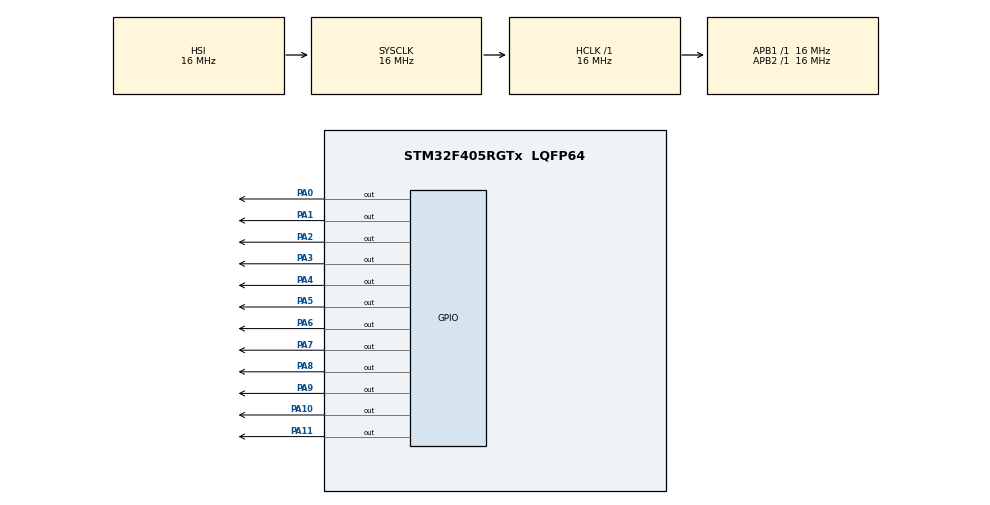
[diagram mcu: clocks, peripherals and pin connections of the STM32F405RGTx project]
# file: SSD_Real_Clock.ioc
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Mcu.Family=STM32F4
Mcu.Name=STM32F405RGTx
Mcu.Package=LQFP64
NVIC.PriorityGroup=NVIC_PRIORITYGROUP_4
NVIC.TIM6_DAC_IRQn=true\:0\:0\:false\:false\:true\:true\:true\:true
PA0-WKUP.Signal=GPIO_Output
PA1.Signal=GPIO_Output
PA10.Signal=GPIO_Output
PA11.Signal=GPIO_Output
PA13.Mode=Serial_Wire
PA13.Signal=SYS_JTMS-SWDIO
PA14.Mode=Serial_Wire
PA14.Signal=SYS_JTCK-SWCLK
PA2.Signal=GPIO_Output
PA3.Signal=GPIO_Output
PA4.Signal=GPIO_Output
PA5.Signal=GPIO_Output
PA6.Signal=GPIO_Output
PA7.Signal=GPIO_Output
PA8.Signal=GPIO_Output
PA9.Signal=GPIO_Output
PC14-OSC32_IN.Mode=LSE-External-Oscillator
PC14-OSC32_IN.Signal=RCC_OSC32_IN
PC15-OSC32_OUT.Mode=LSE-External-Oscillator
PC15-OSC32_OUT.Signal=RCC_OSC32_OUT
PH0-OSC_IN.Mode=HSE-External-Oscillator
PH0-OSC_IN.Signal=RCC_OSC_IN
PH1-OSC_OUT.Mode=HSE-External-Oscillator
PH1-OSC_OUT.Signal=RCC_OSC_OUT
ProjectManager.HeapSize=0x200
ProjectManager.StackSize=0x400
ProjectManager.TargetToolchain=STM32CubeIDE
RCC.AHBFreq_Value=16000000
RCC.APB1Freq_Value=16000000
RCC.APB2Freq_Value=16000000
RCC.CortexFreq_Value=16000000
RCC.HSE_VALUE=25000000
RCC.HSI_VALUE=16000000
RCC.SYSCLKFreq_VALUE=16000000
RCC.VCOOutputFreq_Value=192000000
TIM6.Period=15999
TIM6.Prescaler=999
VP_TIM6_VS_ClockSourceINT.Mode=Enable_Timer
board=custom

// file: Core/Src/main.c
/* USER CODE BEGIN Header */
/**
  ******************************************************************************
  * @file           : main.c
  * @brief          : Main program body
  ******************************************************************************
  * @attention
  *
  * Copyright (c) 2025 STMicroelectronics.
  * All rights reserved.
  *
  * This software is licensed under terms that can be found in the LICENSE file
  * in the root directory of this software component.
  * If no LICENSE file comes with this software, it is provided AS-IS.
  *
  ******************************************************************************
  */
/* USER CODE END Header */
#include "main.h"

/* USER CODE BEGIN Includes */
uint8_t digit[]={0x3F,0x06,0x5B,0x4F,0x66,0x6D,0x7C,0x07,0x7F,0x6F,0x80};
uint8_t ssd[4];
volatile uint16_t hour=00;
volatile uint16_t min=00;
volatile uint16_t flag=0;
/* USER CODE END Includes */

TIM_HandleTypeDef htim6;

void SystemClock_Config(void);
static void MX_GPIO_Init(void);
static void MX_TIM6_Init(void);

int main(void)
{

  /* MCU Configuration--------------------------------------------------------*/

  /* Reset of all peripherals, Initializes the Flash interface and the Systick. */
  HAL_Init();

  /* Configure the system clock */
  SystemClock_Config();

  /* Initialize all configured peripherals */
  MX_GPIO_Init();
  MX_TIM6_Init();
  /* USER CODE BEGIN 2 */
HAL_TIM_Base_Start_IT(&htim6);
  /* USER CODE END 2 */

  /* Infinite loop */
  /* USER CODE BEGIN WHILE */

while (1)
{
	if(flag)
	{
		ssd[0]=digit[hour/10];//1
		ssd[1]=((digit[hour%10])|(digit[10]));//2.
		ssd[2]=digit[min/10];//0
		ssd[3]=digit[min%10];//0
	}
	else
	{
		ssd[0]=digit[hour/10];//1
		ssd[1]=digit[hour%10];
		ssd[2]=digit[min/10];
		ssd[3]=digit[min%10];
	}
	for(int i=0;i<4;i++)
	{
		HAL_GPIO_WritePin(GPIOA,0xFFF,GPIO_PIN_RESET);
		HAL_GPIO_WritePin(GPIOA,ssd[i] | (~(1<<i)<<8),GPIO_PIN_SET);
		HAL_Delay(10);
	}
    /* USER CODE END WHILE */

}
}

void SystemClock_Config(void)
{
  RCC_OscInitTypeDef RCC_OscInitStruct = {0};
  RCC_ClkInitTypeDef RCC_ClkInitStruct = {0};

  /** Configure the main internal regulator output voltage
  */
  __HAL_RCC_PWR_CLK_ENABLE();
  __HAL_PWR_VOLTAGESCALING_CONFIG(PWR_REGULATOR_VOLTAGE_SCALE1);

  /** Initializes the RCC Oscillators according to the specified parameters
  * in the RCC_OscInitTypeDef structure.
  */
  RCC_OscInitStruct.OscillatorType = RCC_OSCILLATORTYPE_HSI;
  RCC_OscInitStruct.HSIState = RCC_HSI_ON;
  RCC_OscInitStruct.HSICalibrationValue = RCC_HSICALIBRATION_DEFAULT;
  RCC_OscInitStruct.PLL.PLLState = RCC_PLL_NONE;
  if (HAL_RCC_OscConfig(&RCC_OscInitStruct) != HAL_OK)
  {
    Error_Handler();
  }

  /** Initializes the CPU, AHB and APB buses clocks
  */
  RCC_ClkInitStruct.ClockType = RCC_CLOCKTYPE_HCLK|RCC_CLOCKTYPE_SYSCLK
                              |RCC_CLOCKTYPE_PCLK1|RCC_CLOCKTYPE_PCLK2;
  RCC_ClkInitStruct.SYSCLKSource = RCC_SYSCLKSOURCE_HSI;
  RCC_ClkInitStruct.AHBCLKDivider = RCC_SYSCLK_DIV1;
  RCC_ClkInitStruct.APB1CLKDivider = RCC_HCLK_DIV1;
  RCC_ClkInitStruct.APB2CLKDivider = RCC_HCLK_DIV1;

  if (HAL_RCC_ClockConfig(&RCC_ClkInitStruct, FLASH_LATENCY_0) != HAL_OK)
  {
    Error_Handler();
  }
}

static void MX_TIM6_Init(void)
{

  TIM_MasterConfigTypeDef sMasterConfig = {0};

  htim6.Instance = TIM6;
  htim6.Init.Prescaler = 999;
  htim6.Init.CounterMode = TIM_COUNTERMODE_UP;
  htim6.Init.Period = 15999;
  htim6.Init.AutoReloadPreload = TIM_AUTORELOAD_PRELOAD_DISABLE;
  if (HAL_TIM_Base_Init(&htim6) != HAL_OK)
  {
    Error_Handler();
  }
  sMasterConfig.MasterOutputTrigger = TIM_TRGO_RESET;
  sMasterConfig.MasterSlaveMode = TIM_MASTERSLAVEMODE_DISABLE;
  if (HAL_TIMEx_MasterConfigSynchronization(&htim6, &sMasterConfig) != HAL_OK)
  {
    Error_Handler();
  }

}

static void MX_GPIO_Init(void)
{
  GPIO_InitTypeDef GPIO_InitStruct = {0};

  /* GPIO Ports Clock Enable */
  __HAL_RCC_GPIOC_CLK_ENABLE();
  __HAL_RCC_GPIOH_CLK_ENABLE();
  __HAL_RCC_GPIOA_CLK_ENABLE();

  /*Configure GPIO pin Output Level */
  HAL_GPIO_WritePin(GPIOA, GPIO_PIN_0|GPIO_PIN_1|GPIO_PIN_2|GPIO_PIN_3
                          |GPIO_PIN_4|GPIO_PIN_5|GPIO_PIN_6|GPIO_PIN_7
                          |GPIO_PIN_8|GPIO_PIN_9|GPIO_PIN_10|GPIO_PIN_11, GPIO_PIN_RESET);

  /*Configure GPIO pins : PA0 PA1 PA2 PA3
                           PA4 PA5 PA6 PA7
                           PA8 PA9 PA10 PA11 */
  GPIO_InitStruct.Pin = GPIO_PIN_0|GPIO_PIN_1|GPIO_PIN_2|GPIO_PIN_3
                          |GPIO_PIN_4|GPIO_PIN_5|GPIO_PIN_6|GPIO_PIN_7
                          |GPIO_PIN_8|GPIO_PIN_9|GPIO_PIN_10|GPIO_PIN_11;
  GPIO_InitStruct.Mode = GPIO_MODE_OUTPUT_PP;
  GPIO_InitStruct.Pull = GPIO_NOPULL;
  GPIO_InitStruct.Speed = GPIO_SPEED_FREQ_LOW;
  HAL_GPIO_Init(GPIOA, &GPIO_InitStruct);

}

void Error_Handler(void)
{
  __disable_irq();
  while (1)
  {
  }
}
